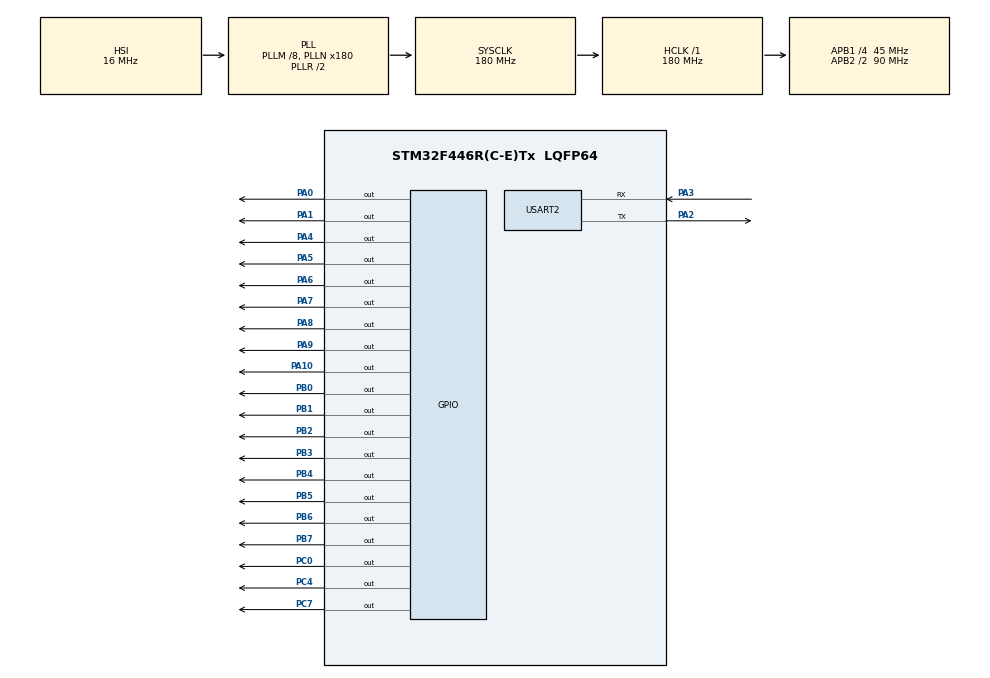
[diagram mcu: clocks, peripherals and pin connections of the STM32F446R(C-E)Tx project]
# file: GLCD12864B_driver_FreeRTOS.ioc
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FREERTOS.Tasks01=defaultTask,24,128,StartDefaultTask,Default,NULL,Dynamic,NULL,NULL
Mcu.Family=STM32F4
Mcu.Name=STM32F446R(C-E)Tx
Mcu.Package=LQFP64
NVIC.PriorityGroup=NVIC_PRIORITYGROUP_4
NVIC.TIM2_IRQn=true\:15\:0\:false\:false\:true\:false\:false\:true\:true
NVIC.TimeBase=TIM2_IRQn
NVIC.TimeBaseIP=TIM2
PA0-WKUP.Signal=GPIO_Output
PA1.Signal=GPIO_Output
PA10.Signal=GPIO_Output
PA2.Mode=Asynchronous
PA2.Signal=USART2_TX
PA3.Mode=Asynchronous
PA3.Signal=USART2_RX
PA4.Signal=GPIO_Output
PA5.Signal=GPIO_Output
PA6.Signal=GPIO_Output
PA7.Signal=GPIO_Output
PA8.Signal=GPIO_Output
PA9.Signal=GPIO_Output
PB0.Signal=GPIO_Output
PB1.Signal=GPIO_Output
PB2.Signal=GPIO_Output
PB3.Signal=GPIO_Output
PB4.Signal=GPIO_Output
PB5.Signal=GPIO_Output
PB6.Signal=GPIO_Output
PB7.Signal=GPIO_Output
PC0.Signal=GPIO_Output
PC4.Signal=GPIO_Output
PC7.Signal=GPIO_Output
ProjectManager.HeapSize=0x2000
ProjectManager.StackSize=0x4000
ProjectManager.TargetToolchain=STM32CubeIDE
RCC.AHBFreq_Value=180000000
RCC.APB1CLKDivider=RCC_HCLK_DIV4
RCC.APB1Freq_Value=45000000
RCC.APB1TimFreq_Value=90000000
RCC.APB2CLKDivider=RCC_HCLK_DIV2
RCC.APB2Freq_Value=90000000
RCC.APB2TimFreq_Value=180000000
RCC.CortexFreq_Value=180000000
RCC.HCLKFreq_Value=180000000
RCC.PLLM=8
RCC.PLLN=180
RCC.SYSCLKFreq_VALUE=180000000
RCC.SYSCLKSource=RCC_SYSCLKSOURCE_PLLRCLK
RCC.USBFreq_Value=180000000
RCC.VCOOutputFreq_Value=360000000
TIM1.Prescaler=180-1
USART2.VirtualMode=VM_ASYNC
VP_FREERTOS_VS_CMSIS_V2.Mode=CMSIS_V2
VP_SYS_VS_tim2.Mode=TIM2
VP_TIM1_VS_ClockSourceINT.Mode=Internal
board=custom

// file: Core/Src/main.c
/* USER CODE BEGIN Header */
/**
  ******************************************************************************
  * @file           : main.c
  * @brief          : Main program body
  ******************************************************************************
  * @attention
  *
  * Copyright (c) 2025 STMicroelectronics.
  * All rights reserved.
  *
  * This software is licensed under terms that can be found in the LICENSE file
  * in the root directory of this software component.
  * If no LICENSE file comes with this software, it is provided AS-IS.
  *
  ******************************************************************************
  */
/* USER CODE END Header */
#include "main.h"
#include "cmsis_os.h"
#include "tim.h"
#include "usart.h"
#include "gpio.h"

/* USER CODE BEGIN Includes */
#include "FreeRTOS.h"
#include "task.h"
#include <stdio.h>
#include <stdlib.h>
#include "application.h"
/* USER CODE END Includes */

void SystemClock_Config(void);
void MX_FREERTOS_Init(void);

int main(void)
{

  /* MCU Configuration--------------------------------------------------------*/

  /* Reset of all peripherals, Initializes the Flash interface and the Systick. */
  HAL_Init();

  /* Configure the system clock */
  SystemClock_Config();

  /* Initialize all configured peripherals */
  MX_GPIO_Init();
  MX_TIM1_Init();
  MX_USART2_UART_Init();
  /* USER CODE BEGIN 2 */
  xTaskCreate(vDisplay_Control, "Disp_control", 256, NULL, 1, NULL);
  xTaskCreate(vLed_Control, "led_control", 128, NULL, 1, NULL);
  vTaskStartScheduler();
  printf("Never get here\n");
  /* USER CODE END 2 */

  /* Init scheduler */
  osKernelInitialize();  /* Call init function for freertos objects (in cmsis_os2.c) */
  MX_FREERTOS_Init();

  /* Start scheduler */
  osKernelStart();

  /* We should never get here as control is now taken by the scheduler */

  /* Infinite loop */
  while (1)
  {

  }
}

void SystemClock_Config(void)
{
  RCC_OscInitTypeDef RCC_OscInitStruct = {0};
  RCC_ClkInitTypeDef RCC_ClkInitStruct = {0};

  /** Configure the main internal regulator output voltage
  */
  __HAL_RCC_PWR_CLK_ENABLE();
  __HAL_PWR_VOLTAGESCALING_CONFIG(PWR_REGULATOR_VOLTAGE_SCALE1);

  /** Initializes the RCC Oscillators according to the specified parameters
  * in the RCC_OscInitTypeDef structure.
  */
  RCC_OscInitStruct.OscillatorType = RCC_OSCILLATORTYPE_HSI;
  RCC_OscInitStruct.HSIState = RCC_HSI_ON;
  RCC_OscInitStruct.HSICalibrationValue = RCC_HSICALIBRATION_DEFAULT;
  RCC_OscInitStruct.PLL.PLLState = RCC_PLL_ON;
  RCC_OscInitStruct.PLL.PLLSource = RCC_PLLSOURCE_HSI;
  RCC_OscInitStruct.PLL.PLLM = 8;
  RCC_OscInitStruct.PLL.PLLN = 180;
  RCC_OscInitStruct.PLL.PLLP = RCC_PLLP_DIV2;
  RCC_OscInitStruct.PLL.PLLQ = 2;
  RCC_OscInitStruct.PLL.PLLR = 2;
  if (HAL_RCC_OscConfig(&RCC_OscInitStruct) != HAL_OK)
  {
    Error_Handler();
  }

  /** Activate the Over-Drive mode
  */
  if (HAL_PWREx_EnableOverDrive() != HAL_OK)
  {
    Error_Handler();
  }

  /** Initializes the CPU, AHB and APB buses clocks
  */
  RCC_ClkInitStruct.ClockType = RCC_CLOCKTYPE_HCLK|RCC_CLOCKTYPE_SYSCLK
                              |RCC_CLOCKTYPE_PCLK1|RCC_CLOCKTYPE_PCLK2;
  RCC_ClkInitStruct.SYSCLKSource = RCC_SYSCLKSOURCE_PLLRCLK;
  RCC_ClkInitStruct.AHBCLKDivider = RCC_SYSCLK_DIV1;
  RCC_ClkInitStruct.APB1CLKDivider = RCC_HCLK_DIV4;
  RCC_ClkInitStruct.APB2CLKDivider = RCC_HCLK_DIV2;

  if (HAL_RCC_ClockConfig(&RCC_ClkInitStruct, FLASH_LATENCY_5) != HAL_OK)
  {
    Error_Handler();
  }
}

/* USER CODE BEGIN 4 */
int __io_putchar(int ch){
	HAL_UART_Transmit(&huart2, (uint8_t*)&ch, 1, HAL_MAX_DELAY);
	return ch;
}
/* USER CODE END 4 */

void HAL_TIM_PeriodElapsedCallback(TIM_HandleTypeDef *htim)
{
  if (htim->Instance == TIM2)
  {
    HAL_IncTick();
  }
}

void Error_Handler(void)
{
  __disable_irq();
  while (1)
  {
  }
}

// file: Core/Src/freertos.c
/* USER CODE BEGIN Header */
/**
  ******************************************************************************
  * File Name          : freertos.c
  * Description        : Code for freertos applications
  ******************************************************************************
  * @attention
  *
  * Copyright (c) 2025 STMicroelectronics.
  * All rights reserved.
  *
  * This software is licensed under terms that can be found in the LICENSE file
  * in the root directory of this software component.
  * If no LICENSE file comes with this software, it is provided AS-IS.
  *
  ******************************************************************************
  */
/* USER CODE END Header */

#include "FreeRTOS.h"
#include "task.h"
#include "main.h"
#include "cmsis_os.h"

/* USER CODE BEGIN Includes */
#include "gpio.h"
/* USER CODE END Includes */

/* Definitions for defaultTask */
osThreadId_t defaultTaskHandle;
const osThreadAttr_t defaultTask_attributes = {
  .name = "defaultTask",
  .stack_size = 128 * 4,
  .priority = (osPriority_t) osPriorityNormal,
};

void StartDefaultTask(void *argument);

void MX_FREERTOS_Init(void); /* (MISRA C 2004 rule 8.1) */

void MX_FREERTOS_Init(void) {

  /* Create the thread(s) */
  /* creation of defaultTask */
  defaultTaskHandle = osThreadNew(StartDefaultTask, NULL, &defaultTask_attributes);

}

void StartDefaultTask(void *argument)
{
  /* USER CODE BEGIN StartDefaultTask */
  /* Infinite loop */
  for(;;)
  {
	HAL_GPIO_TogglePin(GPIOC,GPIO_PIN_7);
    osDelay(100);
  }
  /* USER CODE END StartDefaultTask */
}
